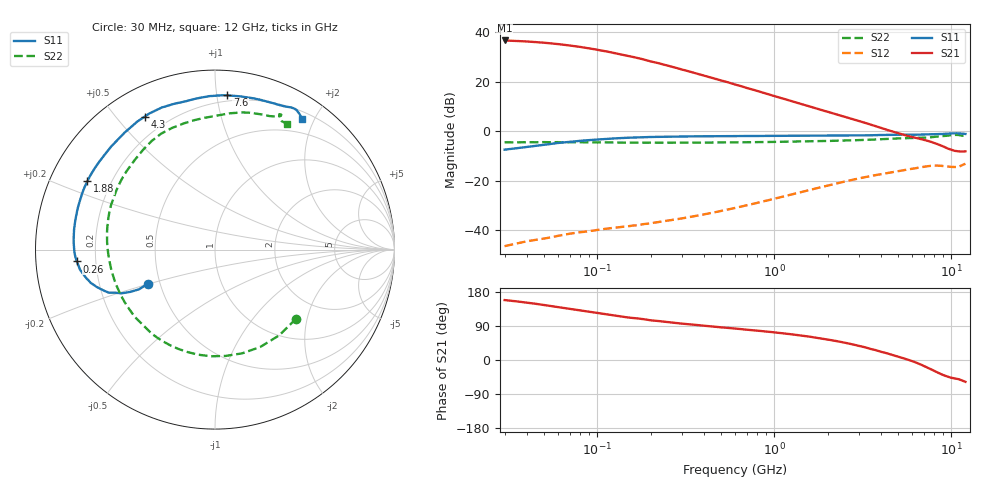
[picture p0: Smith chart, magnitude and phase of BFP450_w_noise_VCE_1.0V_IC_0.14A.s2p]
! (c) 2015  Infineon Technologies AG, Munich
! Infineon Technologies  Discrete & RF Semiconductors
! BFP450
! VCE =  1.0 V,  IC = 0.14 A
! Common Emitter S-Parameters:  Nov 2015
# GHz  S  MA  R  50
!  f  S11  S21  S12  S22
! GHz  MAG  ANG  MAG  ANG  MAG  ANG  MAG  ANG
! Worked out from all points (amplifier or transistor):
!   239 points, 30 MHz to 12 GHz, reference 50 ohm
!   highest |S21| = 36.7 dB at 30 MHz (marker M1)
!   |S21| within 3 dB of that: start of sweep to 86.69 MHz
!   unconditionally stable (mu >= 1): 604.4 MHz to end of sweep
!   at 300 MHz: K = 0.84, MSG = 30.1 dB, |S12| = -35.3 dB
!   at 1.88 GHz: K = 1.11, MAG = 13.4 dB, |S12| = -22.5 dB
!   at 12 GHz: K = 1.09, MAG = 0.7 dB, |S12| = -13.2 dB
!   lowest NFmin = 2.52 dB at 450 MHz
!   S11 on the Smith chart (normalised r, x): 30 MHz: 0.43, -0.20; 260 MHz: 0.13, -0.04; 1.88 GHz: 0.11, +0.25; 4.3 GHz: 0.12, +0.60; 7.6 GHz: 0.16, +1.07; 12 GHz: 0.29, +1.83
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0.03  0.4211 -153.0  68.14 158.1  0.0047 77.3  0.5938 -40.4
0.04  0.4775 -152.4  65.01 151.3  0.0059 71.1  0.5969 -53.2
0.05  0.5286 -153.5  61.42 145.1  0.0067 66.2  0.5982 -65.1
0.06  0.5744 -154.9  57.55 139.8  0.0076 61.6  0.5975 -75.3
0.07  0.6072 -156.7  53.88 134.7  0.0084 59.8  0.5954 -84.3
0.085  0.6477 -158.7  48.8 128.9  0.0092 58.3  0.5928 -95.6
0.11  0.6935 -162.7  41.6 120.9  0.0105 55.0  0.5897 -110.7
0.13  0.7171 -165.0  36.85 116.1  0.0113 53.8  0.5876 -119.8
0.15  0.7341 -167.4  32.95 112.1  0.0119 53.3  0.586 -127.1
0.2  0.7601 -171.5  25.7 104.8  0.0137 53.8  0.5835 -140.1
0.24  0.7688 -174.0  21.94 101.0  0.0151 54.9  0.5819 -147.0
0.26  0.7726 -175.1  20.34 99.1  0.0157 55.5  0.5823 -149.9
0.3  0.7788 -176.9  17.62 96.0  0.0171 56.6  0.5832 -154.9
0.4  0.7855 179.3  13.27 90.3  0.0206 59.0  0.5856 -163.4
0.6  0.7912 174.1  8.754 82.8  0.0279 61.7  0.5918 -173.7
1  0.7959 166.2  5.106 72.8  0.0428 61.7  0.6044 174.5
1.64  0.8047 155.6  3.036 60.5  0.0664 56.4  0.6226 161.6
1.88  0.8069 151.8  2.624 56.3  0.0749 53.8  0.6292 157.3
4.3  0.838 117.9  1.072 18.1  0.1404 24.8  0.6936 122.4
4.5  0.8419 115.7  1.016 15.2  0.1445 22.8  0.7005 120.2
7.6  0.8621 85.4  0.612 -23.7  0.1975 -10.9  0.7486 88.6
12  0.8755 56.3  0.39 -57.5  0.2182 -42.7  0.8075 60.2
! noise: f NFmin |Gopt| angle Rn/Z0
0.45  2.52  0.68  -171  0.07
0.9  2.56  0.71  -165  0.09
1.9  2.65  0.72  -149  0.21
2.4  2.73  0.72  -139  0.32
